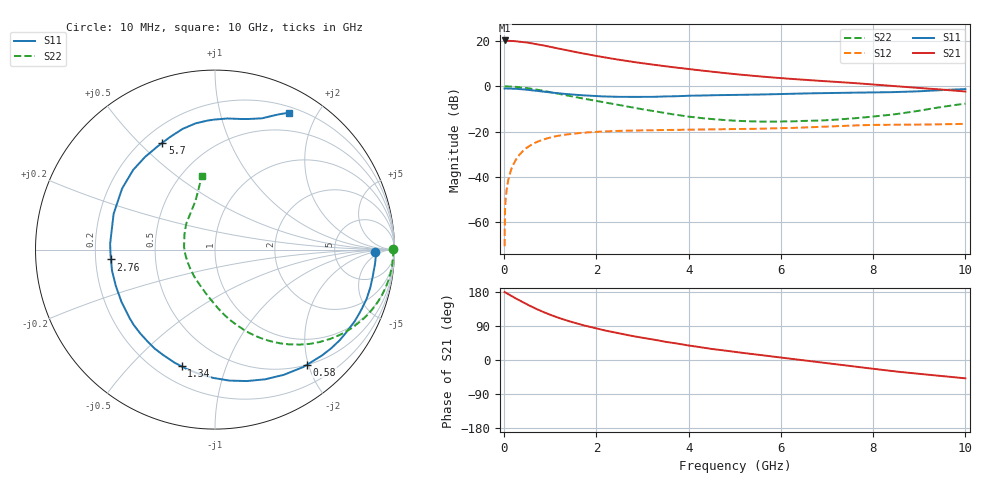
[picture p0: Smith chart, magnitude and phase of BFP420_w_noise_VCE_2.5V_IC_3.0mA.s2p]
! Infineon Technologies  Discrete & RF Semiconductors
! BFP420
! VCE =  2.5 V,  IC =  3.0 mA
! Common Emitter S-Parameters:  Jan 2016
# GHz  S  MA  R  50
!  f  S11  S21  S12  S22
! GHz  MAG  ANG  MAG  ANG  MAG  ANG  MAG  ANG
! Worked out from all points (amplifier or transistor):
!   233 points, 10 MHz to 10 GHz, reference 50 ohm
!   highest |S21| = 20.2 dB at 10 MHz (marker M1)
!   |S21| within 3 dB of that: start of sweep to 1.046 GHz
!   unconditionally stable (mu >= 1): start of sweep to 10.42 MHz; 3.52 GHz to end of sweep
!   at 200 MHz: K = 0.05, MSG = 27.2 dB, |S12| = -34.4 dB
!   at 1.74 GHz: K = 0.45, MSG = 17.4 dB, |S12| = -20.4 dB
!   at 10 GHz: K = 1.17, MAG = 4.6 dB, |S12| = -16.5 dB
!   lowest NFmin = 0.57 dB at 900 MHz
!   S11 on the Smith chart (normalised r, x): 10 MHz: 17, -3; 580 MHz: 0.50, -1.98; 1.34 GHz: 0.30, -0.71; 2.76 GHz: 0.26, -0.04; 5.7 GHz: 0.28, +0.59; 10 GHz: 0.27, +1.65
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0.01  0.8933 -1.0  10.23 179.3  0.0003 36.9  0.9922 0.1
0.015  0.8953 -1.5  10.09 179.1  0.0011 76.2  0.9927 -0.5
0.02  0.8974 -2.0  9.951 178.8  0.002 81.6  0.9932 -1.0
0.03  0.8967 -2.8  9.961 178.0  0.003 84.1  0.993 -1.5
0.11  0.8913 -10.1  10.01 172.4  0.0106 84.2  0.9896 -5.7
0.2  0.8881 -18.1  9.931 166.2  0.0191 79.8  0.9799 -10.5
0.36  0.8643 -32.5  9.61 155.5  0.0334 72.2  0.949 -18.6
0.58  0.8213 -51.3  8.939 141.7  0.0506 62.3  0.8858 -28.8
0.7  0.7961 -61.2  8.527 134.6  0.0587 57.4  0.8463 -33.9
0.9  0.7536 -76.4  7.777 124.1  0.0697 50.1  0.7776 -41.5
1.1  0.7157 -90.5  7.057 114.8  0.0785 44.0  0.7108 -48.1
1.34  0.6764 -106.0  6.279 104.9  0.0864 37.6  0.6361 -55.2
1.68  0.636 -125.6  5.367 92.9  0.0943 30.4  0.5454 -63.5
2.2  0.5966 -151.0  4.3 77.6  0.1017 22.1  0.4357 -74.1
2.76  0.5826 -174.6  3.489 63.9  0.1059 15.4  0.3437 -84.8
3.4  0.5925 163.7  2.845 50.4  0.1085 10.0  0.2658 -97.7
4.2  0.6236 142.2  2.274 34.8  0.1115 5.1  0.2034 -118.3
5.1  0.6478 125.6  1.814 19.8  0.1145 1.2  0.1727 -143.9
5.7  0.6636 116.2  1.601 10.9  0.1171 -0.7  0.1664 -161.5
6.8  0.7046 101.2  1.328 -5.3  0.1271 -4.3  0.1757 168.0
8.4  0.7427 78.4  1.017 -29.0  0.142 -15.0  0.237 126.7
10  0.8679 61.6  0.767 -48.4  0.1489 -22.6  0.4153 100.3
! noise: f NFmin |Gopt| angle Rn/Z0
0.9  0.57  0.35  33  0.18
1.8  1.02  0.2  79  0.14
2.4  1.1  0.23  104  0.14
3  1.25  0.24  144  0.11
4  1.46  0.33  -159  0.1
5  1.9  0.39  -128  0.22
6  2.46  0.48  -107  0.35
